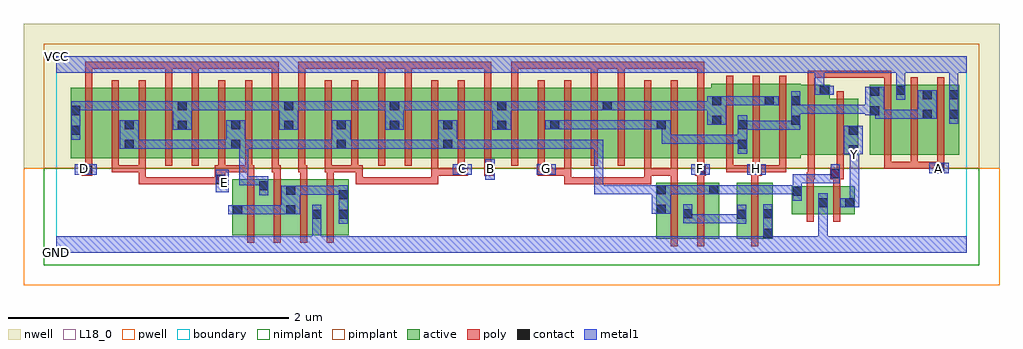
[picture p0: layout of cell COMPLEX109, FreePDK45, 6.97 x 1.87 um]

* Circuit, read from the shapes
.subckt COMPLEX109 A B C D E F G GND H VCC Y
M1 n1 E n2 VSUBS nfet w=0.4u l=0.05u
M2 n2 D n1 VSUBS nfet w=0.4u l=0.05u
M3 GND B n2 VSUBS nfet w=0.4u l=0.05u
M4 n2 C GND VSUBS nfet w=0.4u l=0.05u
M5 n3 G n1 VSUBS nfet w=0.4u l=0.05u
M6 n1 F n3 VSUBS nfet w=0.4u l=0.05u
M7 GND H n3 VSUBS nfet w=0.4u l=0.05u
M8 GND A n1 VSUBS nfet w=0.2u l=0.05u
M9 Y n1 GND VSUBS nfet w=0.2u l=0.05u
M10 n4 D n5 n6 pfet w=0.5u l=0.05u
M11 n1 E n4 n6 pfet w=0.5u l=0.05u
M12 n7 E n1 n6 pfet w=0.5u l=0.05u
M13 n5 D n7 n6 pfet w=0.5u l=0.05u
M14 n8 D n5 n6 pfet w=0.5u l=0.05u
M15 n1 E n8 n6 pfet w=0.5u l=0.05u
M16 n9 E n1 n6 pfet w=0.5u l=0.05u
M17 n5 D n9 n6 pfet w=0.5u l=0.05u
M18 n10 B n5 n6 pfet w=0.5u l=0.05u
M19 n1 C n10 n6 pfet w=0.5u l=0.05u
M20 n11 C n1 n6 pfet w=0.5u l=0.05u
M21 n5 B n11 n6 pfet w=0.5u l=0.05u
M22 n12 B n5 n6 pfet w=0.5u l=0.05u
M23 n1 C n12 n6 pfet w=0.5u l=0.05u
M24 n13 C n1 n6 pfet w=0.5u l=0.05u
M25 n5 B n13 n6 pfet w=0.5u l=0.05u
M26 n14 F n5 n6 pfet w=0.5u l=0.05u
M27 n15 G n14 n6 pfet w=0.5u l=0.05u
M28 n16 G n15 n6 pfet w=0.5u l=0.05u
M29 n5 F n16 n6 pfet w=0.5u l=0.05u
M30 n17 F n5 n6 pfet w=0.5u l=0.05u
M31 n15 G n17 n6 pfet w=0.5u l=0.05u
M32 n18 G n15 n6 pfet w=0.5u l=0.05u
M33 n5 F n18 n6 pfet w=0.5u l=0.05u
M34 n15 H n5 n6 pfet w=0.532u l=0.05u m=3
M35 VCC A n15 n6 pfet w=0.5u l=0.05u m=4
M36 Y n1 VCC n6 pfet w=0.4u l=0.05u
.ends

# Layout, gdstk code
import gdstk
lib = gdstk.Library(unit=1e-6, precision=1e-09)
def R(c, l, rs):  # rectangles x0, y0, x1, y1
    for r in rs: c.add(gdstk.rectangle(r[:2], r[2:], *l))
def A(c, l, x, y, w, h, nx, ny, dx, dy):  # array of equal rectangles
    R(c, l, [(x+i*dx, y+j*dy, x+i*dx+w, y+j*dy+h) for i in range(nx) for j in range(ny)])
active = (1, 0)
pwell = (2, 0)
nwell = (3, 0)
nimplant = (4, 0)
pimplant = (5, 0)
poly = (9, 0)
contact = (10, 0)
metal1 = (11, 0)
L18_0 = (18, 0)
boundary = (235, 0)

complex109 = lib.new_cell('COMPLEX109')
A(complex109, active, 0.102, 0.675, 0.225, 0.5, 5, 1, 0.38, 0)
A(complex109, active, 0.102, 0.675, 0.075, 0.482, 3, 1, 0.76, 0)
A(complex109, active, 0.327, 0.675, 0.23, 0.5, 4, 1, 0.38, 0)
A(complex109, active, 1.847, 0.675, 0.225, 0.5, 3, 1, 0.38, 0)
A(complex109, active, 1.997, 0.675, 0.23, 0.5, 3, 1, 0.38, 0)
R(complex109, active, [(4.282,0.1,4.547,0.5), (4.472,0.1,4.732,0.5), (4.857,0.1,5.117,0.5), (5.042,0.1,5.117,0.5), (1.257,0.125,1.517,0.525), (1.442,0.125,1.712,0.525), (1.637,0.125,1.897,0.525), (1.822,0.125,2.087,0.525), (1.257,0.147,1.332,0.525), (1.442,0.147,1.517,0.525), (1.637,0.147,1.712,0.492), (1.822,0.147,1.897,0.492), (2.012,0.147,2.087,0.525), (4.282,0.147,4.357,0.5), (4.472,0.147,4.547,0.492), (4.657,0.147,4.732,0.5), (4.857,0.147,4.932,0.5), (5.252,0.275,5.327,0.475), (5.252,0.275,5.512,0.475), (5.437,0.275,5.512,0.475), (5.437,0.275,5.702,0.475), (5.627,0.275,5.702,0.475), (0.482,0.675,0.557,1.07), (1.242,0.675,1.317,1.07), (1.997,0.675,2.072,1.07), (2.377,0.675,2.452,1.157), (2.757,0.675,2.832,1.07), (2.987,0.675,3.217,1.175), (3.142,0.675,3.367,1.175), (3.142,0.675,3.217,1.157), (3.367,0.675,3.597,1.175), (3.522,0.675,3.597,1.07), (3.522,0.675,3.747,1.175), (3.747,0.675,3.972,1.175), (3.897,0.675,4.127,1.175), (3.897,0.675,3.972,1.157), (4.127,0.675,4.357,1.175), (4.282,0.675,4.357,1.07), (4.282,0.675,4.507,1.175), (4.507,0.675,4.752,1.175), (4.677,0.675,4.937,1.207), (4.862,0.675,5.127,1.207), (4.862,0.675,4.937,1.07), (5.052,0.675,5.317,1.207), (5.242,0.697,5.522,1.197), (5.242,0.697,5.317,1.157), (5.447,0.697,5.727,1.097), (5.652,0.697,5.727,1.057), (5.807,0.697,6.067,1.197), (5.807,0.697,5.882,1.19), (5.992,0.697,6.067,1.197), (5.992,0.697,6.257,1.197), (6.182,0.697,6.447,1.197), (6.182,0.697,6.257,1.165), (6.372,0.697,6.447,1.197), (4.677,0.775,4.752,1.167), (5.052,0.775,5.127,1.2), (5.447,0.782,5.522,1.197)])
R(complex109, pwell, [(-0.235,-0.235,6.735,0.602)])
R(complex109, nwell, [(-0.235,0.602,6.735,1.635)])
R(complex109, nimplant, [(-0.09,-0.09,6.59,0.602)])
R(complex109, pimplant, [(-0.09,0.602,6.59,1.49)])
A(complex109, poly, 1.362, 0.07, 0.05, 0.51, 4, 1, 0.19, 0)
A(complex109, poly, 1.362, 0.53, 0.05, 0.095, 4, 1, 0.19, 0)
A(complex109, poly, 0.207, 0.575, 0.05, 0.095, 3, 1, 0.19, 0)
A(complex109, poly, 1.157, 0.575, 0.05, 0.095, 6, 1, 0.19, 0)
A(complex109, poly, 1.347, 0.575, 0.065, 0.05, 4, 1, 0.19, 0)
A(complex109, poly, 4.782, 0.575, 0.05, 0.095, 3, 1, 0.19, 0)
A(complex109, poly, 5.912, 0.597, 0.05, 0.095, 3, 1, 0.19, 0)
A(complex109, poly, 0.207, 0.62, 0.05, 0.61, 24, 1, 0.19, 0)
A(complex109, poly, 4.782, 0.62, 0.05, 0.642, 3, 1, 0.19, 0)
A(complex109, poly, 5.912, 0.642, 0.05, 0.61, 3, 1, 0.19, 0)
R(complex109, poly, [(4.387,0.045,4.437,0.555), (4.577,0.045,4.627,0.555), (4.962,0.045,5.012,0.555), (5.357,0.22,5.407,0.53), (5.547,0.22,5.597,0.53), (5.357,0.48,5.407,0.575), (5.547,0.48,5.597,0.575), (0.587,0.487,0.885,0.537), (0.587,0.487,0.637,0.625), (0.835,0.487,0.885,0.537), (0.835,0.487,0.885,0.537), (0.835,0.487,0.885,0.537), (0.835,0.487,1.017,0.537), (0.967,0.487,1.017,0.537), (0.967,0.487,1.017,0.537), (0.967,0.487,1.017,0.537), (0.967,0.487,1.182,0.537), (1.132,0.487,1.182,0.537), (1.132,0.487,1.182,0.537), (1.132,0.487,1.207,0.625), (2.137,0.487,2.405,0.537), (2.137,0.487,2.187,0.625), (2.355,0.487,2.405,0.537), (2.355,0.487,2.405,0.537), (2.355,0.487,2.405,0.537), (2.355,0.487,2.537,0.537), (2.487,0.487,2.537,0.537), (2.487,0.487,2.537,0.537), (2.487,0.487,2.537,0.537), (2.487,0.487,2.727,0.537), (2.677,0.487,2.727,0.6), (3.627,0.487,3.677,0.537), (3.627,0.487,3.677,0.537), (3.627,0.487,3.867,0.537), (3.627,0.487,3.677,0.6), (3.817,0.487,3.867,0.537), (3.817,0.487,3.867,0.537), (3.817,0.487,3.867,0.537), (3.817,0.487,4,0.537), (3.95,0.487,4,0.537), (3.95,0.487,4.247,0.537), (4.197,0.487,4.247,0.6), (4.387,0.505,4.437,0.6), (4.577,0.505,4.627,0.6), (4.962,0.505,5.012,0.6), (5.357,0.525,5.417,0.575), (5.367,0.525,5.417,0.692), (5.525,0.525,5.622,0.6), (0.182,0.55,0.257,0.625), (2.677,0.55,2.727,0.67), (2.677,0.55,2.912,0.6), (2.862,0.55,2.912,0.6), (2.862,0.55,2.912,0.6), (2.862,0.55,2.937,0.625), (3.057,0.55,3.132,0.625), (3.437,0.55,3.537,0.625), (3.487,0.55,3.537,0.6), (3.487,0.55,3.537,0.6), (3.487,0.55,3.677,0.6), (3.627,0.55,3.677,0.67), (4.197,0.55,4.247,0.6), (4.197,0.55,4.247,0.6), (4.197,0.55,4.437,0.6), (4.197,0.55,4.247,0.67), (4.387,0.55,4.437,0.6), (4.387,0.55,4.437,0.6), (4.387,0.55,4.437,0.6), (4.387,0.55,4.437,0.67), (4.562,0.55,4.637,0.625), (4.962,0.55,5.037,0.625), (5.572,0.55,5.622,0.692), (6.267,0.572,6.342,0.647), (0.397,0.575,0.447,0.625), (0.397,0.575,0.637,0.625), (0.587,0.575,0.637,0.625), (0.587,0.575,0.637,0.625), (1.157,0.575,1.397,0.625), (1.347,0.575,1.397,0.625), (1.347,0.575,1.397,0.625), (1.932,0.575,1.982,0.625), (1.932,0.575,1.982,0.625), (1.932,0.575,2.157,0.625), (2.107,0.575,2.157,0.625), (2.107,0.575,2.187,0.625), (2.867,0.575,2.917,0.67), (3.057,0.575,3.107,0.67), (3.437,0.575,3.487,0.67), (4.577,0.575,4.627,0.67), (4.782,0.575,4.832,0.625), (4.782,0.575,4.832,0.625), (4.782,0.575,4.832,0.625), (4.782,0.575,5.012,0.625), (4.987,0.575,5.037,0.625), (4.987,0.575,5.037,0.625), (4.987,0.575,5.212,0.625), (5.162,0.575,5.212,0.625), (5.912,0.597,5.962,0.647), (5.912,0.597,6.152,0.647), (6.102,0.597,6.152,0.647), (6.102,0.597,6.152,0.647), (6.102,0.597,6.152,0.647), (6.102,0.597,6.317,0.647), (6.267,0.597,6.317,0.647), (6.267,0.597,6.317,0.647), (5.367,0.642,5.417,1.252), (5.572,0.642,5.622,1.152), (0.207,1.18,0.257,1.362), (0.777,1.18,0.827,1.362), (0.967,1.18,1.017,1.362), (1.537,1.18,1.587,1.362), (1.727,1.18,1.777,1.362), (2.297,1.18,2.347,1.362), (2.487,1.18,2.537,1.362), (3.057,1.18,3.107,1.362), (3.247,1.18,3.297,1.362), (3.817,1.18,3.867,1.362), (4.007,1.18,4.057,1.362), (4.577,1.18,4.627,1.362), (5.367,1.202,5.417,1.297), (5.912,1.202,5.962,1.297), (5.367,1.247,5.417,1.297), (5.367,1.247,5.417,1.297), (5.367,1.247,5.417,1.297), (5.367,1.247,5.697,1.297), (5.647,1.247,5.697,1.297), (5.647,1.247,5.83,1.297), (5.78,1.247,5.83,1.297), (5.78,1.247,5.83,1.297), (5.78,1.247,5.83,1.297), (5.78,1.247,5.962,1.297), (5.912,1.247,5.962,1.297), (0.207,1.312,0.257,1.362), (0.207,1.312,0.257,1.362), (0.207,1.312,0.257,1.362), (0.207,1.312,0.447,1.362), (0.397,1.312,0.447,1.362), (0.397,1.312,0.447,1.362), (0.397,1.312,0.447,1.362), (0.397,1.312,0.58,1.362), (0.53,1.312,0.58,1.362), (0.53,1.312,0.827,1.362), (0.777,1.312,0.827,1.362), (0.777,1.312,0.827,1.362), (0.777,1.312,0.827,1.362), (0.777,1.312,1.017,1.362), (0.967,1.312,1.017,1.362), (0.967,1.312,1.017,1.362), (0.967,1.312,1.017,1.362), (0.967,1.312,1.15,1.362), (1.1,1.312,1.15,1.362), (1.1,1.312,1.15,1.362), (1.1,1.312,1.15,1.362), (1.1,1.312,1.34,1.362), (1.29,1.312,1.34,1.362), (1.29,1.312,1.34,1.362), (1.29,1.312,1.34,1.362), (1.29,1.312,1.587,1.362), (1.537,1.312,1.587,1.362), (1.537,1.312,1.587,1.362), (1.537,1.312,1.587,1.362), (1.727,1.312,1.777,1.362), (1.727,1.312,1.777,1.362), (1.727,1.312,1.777,1.362), (1.727,1.312,2.025,1.362), (1.975,1.312,2.025,1.362), (1.975,1.312,2.025,1.362), (1.975,1.312,2.025,1.362), (1.975,1.312,2.215,1.362), (2.165,1.312,2.215,1.362), (2.165,1.312,2.215,1.362), (2.165,1.312,2.215,1.362), (2.165,1.312,2.347,1.362), (2.297,1.312,2.347,1.362), (2.297,1.312,2.347,1.362), (2.297,1.312,2.347,1.362), (2.297,1.312,2.537,1.362), (2.487,1.312,2.537,1.362), (2.487,1.312,2.537,1.362), (2.487,1.312,2.537,1.362), (2.487,1.312,2.78,1.362), (2.73,1.312,2.78,1.362), (2.73,1.312,2.912,1.362), (2.862,1.312,2.912,1.362), (2.862,1.312,2.912,1.362), (2.862,1.312,2.912,1.362), (2.862,1.312,3.107,1.362), (3.057,1.312,3.107,1.362), (3.057,1.312,3.107,1.362), (3.057,1.312,3.107,1.362), (3.247,1.312,3.297,1.362), (3.247,1.312,3.297,1.362), (3.247,1.312,3.297,1.362), (3.247,1.312,3.545,1.362), (3.495,1.312,3.545,1.362), (3.495,1.312,3.545,1.362), (3.495,1.312,3.545,1.362), (3.495,1.312,3.735,1.362), (3.685,1.312,3.735,1.362), (3.685,1.312,3.735,1.362), (3.685,1.312,3.735,1.362), (3.685,1.312,3.867,1.362), (3.817,1.312,3.867,1.362), (3.817,1.312,4.057,1.362), (4.007,1.312,4.057,1.362), (4.007,1.312,4.057,1.362), (4.007,1.312,4.057,1.362), (4.007,1.312,4.247,1.362), (4.197,1.312,4.247,1.362), (4.197,1.312,4.247,1.362), (4.197,1.312,4.247,1.362), (4.197,1.312,4.38,1.362), (4.33,1.312,4.38,1.362), (4.33,1.312,4.38,1.362), (4.33,1.312,4.38,1.362), (4.33,1.312,4.627,1.362), (4.577,1.312,4.627,1.362), (4.577,1.312,4.627,1.362), (4.577,1.312,4.627,1.362)])
R(complex109, contact, [(5.047,0.105,5.112,0.17), (1.827,0.24,1.892,0.305), (2.017,0.24,2.082,0.305), (4.862,0.24,4.927,0.305), (4.477,0.245,4.542,0.31), (5.047,0.245,5.112,0.31), (1.262,0.272,1.327,0.337), (1.642,0.272,1.707,0.337), (4.287,0.277,4.352,0.342), (5.442,0.322,5.507,0.387), (5.632,0.322,5.697,0.387), (2.017,0.38,2.082,0.445), (5.257,0.405,5.322,0.47), (1.642,0.412,1.707,0.477), (4.662,0.415,4.727,0.48), (4.287,0.417,4.352,0.482), (1.447,0.445,1.512,0.51), (1.137,0.492,1.202,0.557), (5.53,0.53,5.595,0.595), (0.187,0.555,0.252,0.62), (2.867,0.555,2.932,0.62), (3.062,0.555,3.127,0.62), (3.467,0.555,3.532,0.62), (4.567,0.555,4.632,0.62), (4.967,0.555,5.032,0.62), (6.272,0.577,6.337,0.642), (5.657,0.702,5.722,0.767), (0.487,0.74,0.552,0.805), (1.247,0.74,1.312,0.805), (2.002,0.74,2.067,0.805), (2.762,0.74,2.827,0.805), (4.867,0.74,4.932,0.805), (0.107,0.842,0.172,0.907), (5.657,0.842,5.722,0.907), (0.867,0.877,0.932,0.942), (1.627,0.877,1.692,0.942), (2.382,0.877,2.447,0.942), (3.147,0.877,3.212,0.942), (0.487,0.88,0.552,0.945), (1.247,0.88,1.312,0.945), (2.002,0.88,2.067,0.945), (2.762,0.88,2.827,0.945), (3.527,0.88,3.592,0.945), (4.287,0.88,4.352,0.945), (4.867,0.88,4.932,0.945), (4.682,0.912,4.747,0.977), (5.247,0.912,5.312,0.977), (6.187,0.955,6.252,1.02), (6.377,0.955,6.442,1.02), (5.812,0.98,5.877,1.045), (0.107,0.982,0.172,1.047), (0.867,1.017,0.932,1.082), (1.627,1.017,1.692,1.082), (2.382,1.017,2.447,1.082), (3.147,1.017,3.212,1.082), (3.902,1.017,3.967,1.082), (4.682,1.052,4.747,1.117), (5.057,1.052,5.122,1.117), (5.247,1.052,5.312,1.117), (6.187,1.095,6.252,1.16), (6.377,1.095,6.442,1.16), (5.812,1.12,5.877,1.185), (5.452,1.127,5.517,1.192), (5.997,1.127,6.062,1.192)])
R(complex109, metal1, [(0,0,6.5,0.115), (1.827,0.05,1.892,0.27), (5.047,0.05,5.112,0.135), (5.442,0.05,5.507,0.352), (5.047,0.07,5.112,0.345), (1.827,0.205,1.892,0.34), (2.017,0.205,2.082,0.48), (4.862,0.205,4.927,0.34), (4.477,0.21,4.542,0.275), (4.477,0.21,4.542,0.275), (4.477,0.21,4.542,0.345), (4.477,0.21,4.692,0.275), (4.627,0.21,4.692,0.275), (4.627,0.21,4.692,0.275), (4.627,0.21,4.692,0.275), (4.627,0.21,4.927,0.275), (1.227,0.272,1.362,0.337), (1.297,0.272,1.37,0.337), (1.305,0.272,1.37,0.337), (1.305,0.272,1.52,0.337), (1.455,0.272,1.52,0.337), (1.455,0.272,1.672,0.337), (1.607,0.272,1.672,0.337), (1.607,0.272,1.672,0.337), (1.607,0.272,1.742,0.477), (4.252,0.277,4.387,0.482), (5.442,0.287,5.507,0.352), (5.442,0.287,5.507,0.352), (5.442,0.287,5.507,0.352), (5.442,0.287,5.507,0.352), (5.442,0.287,5.507,0.422), (5.597,0.322,5.732,0.387), (5.667,0.322,5.732,0.697), (5.257,0.37,5.322,0.505), (1.447,0.41,1.512,0.545), (1.677,0.412,1.895,0.477), (1.83,0.412,1.895,0.477), (1.83,0.412,1.895,0.477), (1.83,0.412,1.895,0.477), (1.83,0.412,2.082,0.477), (2.017,0.412,2.082,0.477), (2.017,0.412,2.082,0.477), (4.627,0.415,4.762,0.482), (3.84,0.417,3.905,0.482), (3.84,0.417,4.042,0.482), (3.84,0.417,3.905,0.805), (3.977,0.417,4.042,0.482), (3.977,0.417,4.18,0.482), (4.115,0.417,4.18,0.482), (4.115,0.417,4.18,0.482), (4.115,0.417,4.18,0.482), (4.115,0.417,4.317,0.482), (4.322,0.417,4.387,0.482), (4.322,0.417,4.387,0.482), (4.322,0.417,4.555,0.482), (4.49,0.417,4.555,0.482), (4.49,0.417,4.555,0.482), (4.49,0.417,4.555,0.482), (4.49,0.417,4.692,0.482), (4.697,0.417,4.762,0.482), (4.697,0.417,4.762,0.482), (4.697,0.417,4.932,0.482), (4.867,0.417,4.932,0.482), (4.867,0.417,4.932,0.482), (4.867,0.417,4.932,0.482), (4.867,0.417,5.07,0.482), (5.005,0.417,5.07,0.482), (5.005,0.417,5.07,0.482), (5.005,0.417,5.07,0.482), (5.005,0.417,5.322,0.482), (1.137,0.432,1.232,0.592), (5.257,0.44,5.322,0.505), (5.257,0.44,5.322,0.56), (1.305,0.48,1.37,0.545), (1.305,0.48,1.37,0.545), (1.305,0.48,1.37,0.545), (1.305,0.48,1.512,0.545), (1.305,0.48,1.37,0.805), (5.257,0.495,5.46,0.56), (5.395,0.495,5.46,0.56), (5.395,0.495,5.46,0.56), (5.395,0.495,5.46,0.56), (5.395,0.495,5.595,0.56), (5.53,0.495,5.595,0.63), (3.062,0.52,3.132,0.667), (0.132,0.555,0.287,0.632), (2.832,0.555,2.967,0.632), (3.432,0.555,3.567,0.632), (4.532,0.555,4.667,0.632), (4.932,0.555,5.067,0.632), (6.232,0.567,6.372,0.642), (5.667,0.632,5.732,0.767), (5.622,0.702,5.757,0.907), (5.667,0.702,5.732,0.767), (4.867,0.705,4.932,0.98), (0.452,0.74,0.587,0.945), (0.522,0.74,0.587,0.805), (0.522,0.74,0.587,0.805), (0.522,0.74,0.725,0.805), (0.66,0.74,0.725,0.805), (0.66,0.74,0.83,0.805), (0.765,0.74,0.83,0.805), (0.765,0.74,0.967,0.805), (0.902,0.74,0.967,0.805), (0.902,0.74,0.967,0.805), (0.902,0.74,0.967,0.805), (0.902,0.74,1.105,0.805), (1.04,0.74,1.105,0.805), (1.04,0.74,1.105,0.805), (1.04,0.74,1.105,0.805), (1.04,0.74,1.277,0.805), (1.212,0.74,1.347,0.945), (1.282,0.74,1.347,0.805), (1.282,0.74,1.52,0.805), (1.282,0.74,1.37,0.805), (1.305,0.74,1.37,0.805), (1.305,0.74,1.37,0.805), (1.455,0.74,1.52,0.805), (1.455,0.74,1.52,0.805), (1.455,0.74,1.52,0.805), (1.455,0.74,1.755,0.805), (1.69,0.74,1.755,0.805), (1.69,0.74,1.755,0.805), (1.69,0.74,1.755,0.805), (1.69,0.74,1.892,0.805), (1.827,0.74,1.892,0.805), (1.827,0.74,1.892,0.805), (1.827,0.74,1.892,0.805), (1.827,0.74,2.032,0.805), (1.967,0.74,2.032,0.805), (1.967,0.74,2.032,0.805), (1.967,0.74,2.102,0.945), (2.037,0.74,2.24,0.805), (2.175,0.74,2.24,0.805), (2.175,0.74,2.24,0.805), (2.175,0.74,2.24,0.805), (2.175,0.74,2.377,0.805), (2.312,0.74,2.377,0.805), (2.312,0.74,2.377,0.805), (2.312,0.74,2.377,0.805), (2.312,0.74,2.515,0.805), (2.45,0.74,2.515,0.805), (2.45,0.74,2.652,0.805), (2.587,0.74,2.652,0.805), (2.587,0.74,2.725,0.805), (2.66,0.74,2.725,0.805), (2.66,0.74,2.792,0.805), (2.727,0.74,2.862,0.945), (2.797,0.74,2.862,0.805), (2.797,0.74,2.862,0.805), (2.797,0.74,3,0.805), (2.935,0.74,3,0.805), (2.935,0.74,3,0.805), (2.935,0.74,3,0.805), (2.935,0.74,3,0.805), (2.935,0.74,3,0.805), (2.935,0.74,3.137,0.805), (3.072,0.74,3.137,0.805), (3.072,0.74,3.137,0.805), (3.072,0.74,3.137,0.805), (3.072,0.74,3.385,0.805), (3.32,0.74,3.385,0.805), (3.32,0.74,3.385,0.805), (3.32,0.74,3.385,0.805), (3.32,0.74,3.627,0.805), (3.562,0.74,3.627,0.805), (3.562,0.74,3.765,0.805), (3.7,0.74,3.765,0.805), (3.7,0.74,3.765,0.805), (3.7,0.74,3.765,0.805), (3.7,0.74,3.905,0.805), (3.84,0.74,3.905,0.805), (3.84,0.74,3.905,0.805), (3.84,0.74,3.905,0.805), (3.84,0.74,3.905,0.805), (3.84,0.74,3.905,0.805), (4.322,0.775,4.387,0.84), (4.322,0.775,4.387,0.84), (4.322,0.775,4.387,0.84), (4.322,0.775,4.525,0.84), (4.322,0.775,4.387,0.945), (4.46,0.775,4.525,0.84), (4.46,0.775,4.525,0.84), (4.46,0.775,4.525,0.84), (4.46,0.775,4.79,0.84), (4.725,0.775,4.79,0.84), (4.725,0.775,4.79,0.84), (4.725,0.775,4.79,0.84), (4.725,0.775,4.932,0.84), (0.107,0.807,0.172,1.082), (0.832,0.877,0.967,1.082), (1.592,0.877,1.727,1.082), (2.347,0.877,2.482,1.082), (3.112,0.877,3.247,1.082), (4.867,0.877,4.932,0.942), (4.867,0.877,4.932,0.942), (4.867,0.877,5.175,0.942), (5.11,0.877,5.175,0.942), (5.11,0.877,5.175,0.942), (5.11,0.877,5.175,0.942), (5.11,0.877,5.312,0.942), (5.247,0.877,5.312,1.152), (3.492,0.88,3.627,0.945), (3.562,0.88,3.765,0.945), (3.7,0.88,3.765,0.945), (3.7,0.88,3.765,0.945), (3.7,0.88,3.765,0.945), (3.7,0.88,3.905,0.945), (3.84,0.88,3.905,0.945), (3.84,0.88,4.042,0.945), (3.977,0.88,4.042,0.945), (3.977,0.88,4.042,0.945), (3.977,0.88,4.042,0.945), (3.977,0.88,4.18,0.945), (4.115,0.88,4.18,0.945), (4.115,0.88,4.18,0.945), (4.115,0.88,4.18,0.945), (4.115,0.88,4.317,0.945), (4.252,0.88,4.387,0.945), (4.647,0.912,4.782,1.117), (6.377,0.92,6.442,1.195), (5.847,0.955,6.08,1.02), (5.847,0.955,5.912,1.045), (6.015,0.955,6.08,1.02), (6.015,0.955,6.08,1.02), (6.015,0.955,6.08,1.02), (6.015,0.955,6.217,1.02), (6.152,0.955,6.287,1.16), (5.777,0.98,5.912,1.185), (5.847,0.98,5.912,1.045), (5.247,0.99,5.312,1.055), (5.247,0.99,5.312,1.055), (5.247,0.99,5.312,1.055), (5.247,0.99,5.46,1.055), (5.247,0.99,5.312,1.152), (5.395,0.99,5.46,1.055), (5.395,0.99,5.597,1.055), (5.532,0.99,5.597,1.055), (5.532,0.99,5.597,1.055), (5.532,0.99,5.597,1.055), (5.532,0.99,5.842,1.055), (0.107,1.017,0.172,1.082), (0.107,1.017,0.172,1.082), (0.107,1.017,0.31,1.082), (0.245,1.017,0.31,1.082), (0.245,1.017,0.31,1.082), (0.245,1.017,0.31,1.082), (0.245,1.017,0.587,1.082), (0.522,1.017,0.587,1.082), (0.522,1.017,0.587,1.082), (0.522,1.017,0.587,1.082), (0.522,1.017,0.76,1.082), (0.695,1.017,0.76,1.082), (0.695,1.017,0.76,1.082), (0.695,1.017,0.76,1.082), (0.695,1.017,0.897,1.082), (0.902,1.017,0.967,1.082), (0.902,1.017,0.967,1.082), (0.902,1.017,1.105,1.082), (1.04,1.017,1.105,1.082), (1.04,1.017,1.105,1.082), (1.04,1.017,1.105,1.082), (1.04,1.017,1.242,1.082), (1.177,1.017,1.242,1.082), (1.177,1.017,1.52,1.082), (1.455,1.017,1.52,1.082), (1.455,1.017,1.52,1.082), (1.455,1.017,1.52,1.082), (1.455,1.017,1.657,1.082), (1.592,1.017,1.657,1.082), (1.592,1.017,1.657,1.082), (1.662,1.017,1.895,1.082), (1.83,1.017,1.895,1.082), (1.83,1.017,1.895,1.082), (1.83,1.017,1.895,1.082), (1.83,1.017,2.102,1.082), (2.037,1.017,2.102,1.082), (2.037,1.017,2.102,1.082), (2.037,1.017,2.102,1.082), (2.037,1.017,2.24,1.082), (2.175,1.017,2.24,1.082), (2.175,1.017,2.24,1.082), (2.175,1.017,2.24,1.082), (2.175,1.017,2.377,1.082), (2.312,1.017,2.377,1.082), (2.312,1.017,2.412,1.082), (2.417,1.017,2.515,1.082), (2.45,1.017,2.515,1.082), (2.45,1.017,2.652,1.082), (2.587,1.017,2.652,1.082), (2.587,1.017,2.652,1.082), (2.587,1.017,2.652,1.082), (2.587,1.017,2.862,1.082), (2.797,1.017,2.862,1.082), (2.797,1.017,2.862,1.082), (2.797,1.017,2.862,1.082), (2.797,1.017,3,1.082), (2.935,1.017,3,1.082), (2.935,1.017,3,1.082), (2.935,1.017,3,1.082), (2.935,1.017,3.177,1.082), (3.182,1.017,3.247,1.082), (3.182,1.017,3.247,1.082), (3.182,1.017,3.42,1.082), (3.355,1.017,3.42,1.082), (3.355,1.017,3.42,1.082), (3.355,1.017,3.42,1.082), (3.355,1.017,3.627,1.082), (3.562,1.017,3.627,1.082), (3.562,1.017,3.627,1.082), (3.562,1.017,3.627,1.082), (3.562,1.017,3.765,1.082), (3.7,1.017,3.765,1.082), (3.7,1.017,3.902,1.082), (3.837,1.017,3.902,1.082), (3.837,1.017,3.932,1.082), (3.867,1.017,4.002,1.082), (3.937,1.017,4.042,1.082), (3.977,1.017,4.042,1.082), (3.977,1.017,4.18,1.082), (4.115,1.017,4.18,1.082), (4.115,1.017,4.18,1.082), (4.115,1.017,4.18,1.082), (4.115,1.017,4.387,1.082), (4.322,1.017,4.387,1.082), (4.322,1.017,4.387,1.082), (4.322,1.017,4.387,1.082), (4.322,1.017,4.525,1.082), (4.46,1.017,4.525,1.082), (4.46,1.017,4.525,1.082), (4.46,1.017,4.525,1.082), (4.46,1.017,4.712,1.082), (4.717,1.052,4.782,1.117), (4.717,1.052,4.782,1.117), (4.717,1.052,4.932,1.117), (4.867,1.052,4.932,1.117), (4.867,1.052,4.932,1.117), (4.867,1.052,4.932,1.117), (4.867,1.052,5.087,1.117), (5.022,1.052,5.157,1.117), (5.997,1.092,6.062,1.227), (5.417,1.127,5.482,1.192), (5.417,1.127,5.482,1.192), (5.417,1.127,5.552,1.192), (5.417,1.127,5.482,1.35), (6.377,1.13,6.442,1.35), (5.997,1.162,6.062,1.227), (5.997,1.162,6.062,1.227), (5.997,1.162,6.062,1.35), (0,1.285,6.5,1.4), (6.377,1.285,6.442,1.35), (6.377,1.285,6.442,1.35)])
R(complex109, L18_0, [(0,0,6.5,0.115), (1.827,0.05,1.892,0.27), (5.047,0.05,5.112,0.135), (5.442,0.05,5.507,0.352), (5.047,0.07,5.112,0.345), (1.827,0.205,1.892,0.34), (5.442,0.287,5.507,0.422), (5.442,0.287,5.507,0.352), (5.442,0.287,5.507,0.352), (5.442,0.287,5.507,0.352), (5.442,0.287,5.507,0.352), (5.597,0.322,5.732,0.387), (5.667,0.322,5.732,0.697), (1.137,0.432,1.232,0.592), (1.167,0.467,1.232,0.532), (3.062,0.52,3.132,0.667), (0.132,0.555,0.287,0.632), (2.832,0.555,2.967,0.632), (3.432,0.555,3.567,0.632), (4.532,0.555,4.667,0.632), (4.932,0.555,5.067,0.632), (0.167,0.567,0.232,0.632), (2.867,0.567,2.932,0.632), (3.067,0.567,3.132,0.632), (3.467,0.567,3.532,0.632), (4.567,0.567,4.632,0.632), (4.967,0.567,5.032,0.632), (6.232,0.567,6.372,0.642), (6.267,0.567,6.332,0.632), (5.667,0.632,5.732,0.767), (5.667,0.667,5.732,0.732), (5.622,0.702,5.757,0.907), (5.667,0.702,5.732,0.767), (6.377,0.92,6.442,1.195), (5.997,1.092,6.062,1.227), (5.417,1.127,5.482,1.192), (5.417,1.127,5.482,1.192), (5.417,1.127,5.552,1.192), (5.417,1.127,5.482,1.35), (6.377,1.13,6.442,1.35), (5.997,1.162,6.062,1.227), (5.997,1.162,6.062,1.227), (5.997,1.162,6.062,1.35), (0,1.285,6.5,1.4), (6.377,1.285,6.442,1.35), (6.377,1.285,6.442,1.35)])
R(complex109, boundary, [(0,0,6.5,1.4)])
complex109.add(gdstk.Label('A', (6.3,0.6), layer=11, texttype=0))
complex109.add(gdstk.Label('B', (3.1,0.6), layer=11, texttype=0))
complex109.add(gdstk.Label('C', (2.9,0.6), layer=11, texttype=0))
complex109.add(gdstk.Label('D', (0.2,0.6), layer=11, texttype=0))
complex109.add(gdstk.Label('E', (1.2,0.5), layer=11, texttype=0))
complex109.add(gdstk.Label('F', (4.6,0.6), layer=11, texttype=0))
complex109.add(gdstk.Label('G', (3.5,0.6), layer=11, texttype=0))
complex109.add(gdstk.Label('H', (5,0.6), layer=11, texttype=0))
complex109.add(gdstk.Label('Y', (5.7,0.7), layer=11, texttype=0))
complex109.add(gdstk.Label('VCC', (0,1.4), layer=11, texttype=0))
complex109.add(gdstk.Label('GND', (0,0), layer=11, texttype=0))

lib.write_gds('COMPLEX109.gds')
